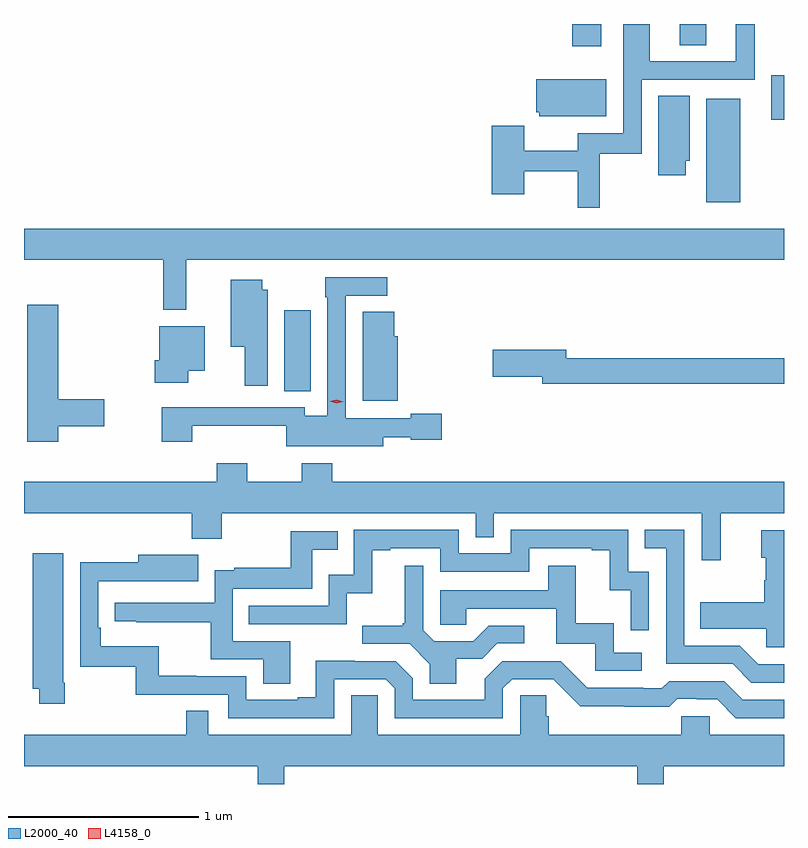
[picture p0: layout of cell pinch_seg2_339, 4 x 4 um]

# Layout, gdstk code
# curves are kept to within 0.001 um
import gdstk
lib = gdstk.Library(unit=1e-6, precision=1e-09)
def R(c, l, rs):  # rectangles x0, y0, x1, y1
    for r in rs: c.add(gdstk.rectangle(r[:2], r[2:], *l))
def P(c, l, *ps):  # polygons
    for p in ps: c.add(gdstk.Polygon(p, *l))
L2000_40 = (2000, 40)
L4158_0 = (4158, 0)

pinch_seg2_339 = lib.new_cell('pinch_seg2_339')
R(pinch_seg2_339, L2000_40, [(983.42,641.617,983.557,642.043), (985.64,642.611,985.819,643.156), (985.982,643.046,986.049,643.279), (984.935,643.434,985.087,643.55), (985.499,643.438,985.639,643.55)])
P(pinch_seg2_339, L2000_40, [(985.078,642.867),(985.299,642.867),(985.299,643.257),(985.894,643.257),(985.894,643.55),(985.796,643.55),(985.796,643.353),(985.342,643.353),(985.342,643.55),(985.203,643.55),(985.203,642.975),(984.964,642.975),(984.964,642.884),(984.682,642.884),(984.682,643.015),(984.512,643.015),(984.512,642.654),(984.682,642.654),(984.682,642.774),(984.964,642.774),(984.964,642.582),(985.078,642.582)],
  [(985.114,643.258),(984.746,643.258),(984.746,643.086),(984.762,643.086),(984.762,643.064),(985.114,643.064)],
  [(985.531,642.831),(985.552,642.831),(985.552,643.172),(985.388,643.172),(985.388,642.755),(985.531,642.755)],
  [(982.902,642.308),(986.049,642.308),(986.049,642.472),(982.049,642.472),(982.049,642.308),(982.783,642.308),(982.783,642.045),(982.902,642.045)],
  [(983.941,641.374),(984.084,641.374),(984.084,641.363),(984.247,641.363),(984.247,641.5),(984.084,641.5),(984.084,641.476),(983.742,641.476),(983.742,642.12),(983.962,642.12),(983.962,642.216),(983.634,642.216),(983.634,642.113),(983.646,642.113),(983.646,641.488),(983.526,641.488),(983.526,641.532),(983.017,641.532),(983.017,641.533),(982.774,641.533),(982.774,641.352),(982.934,641.352),(982.934,641.435),(983.43,641.435),(983.43,641.327),(983.941,641.327)],
  [(983.332,642.151),(983.304,642.151),(983.304,642.205),(983.138,642.205),(983.138,641.852),(983.21,641.852),(983.21,641.646),(983.332,641.646)],
  [(982.228,641.434),(982.471,641.434),(982.471,641.576),(982.228,641.576),(982.228,642.073),(982.067,642.073),(982.067,641.352),(982.228,641.352)],
  [(984.016,641.907),(983.998,641.907),(983.998,642.035),(983.831,642.035),(983.831,641.567),(984.016,641.567)],
  [(982.914,641.726),(982.999,641.726),(982.999,641.959),(982.76,641.959),(982.76,641.781),(982.736,641.781),(982.736,641.663),(982.914,641.663)],
  [(986.049,641.792),(984.904,641.792),(984.904,641.835),(984.516,641.835),(984.516,641.693),(984.776,641.693),(984.776,641.656),(986.049,641.656)],
  [(983.672,641.239),(983.512,641.239),(983.512,641.14),(983.223,641.14),(983.223,641.239),(983.063,641.239),(983.063,641.14),(982.049,641.14),(982.049,640.976),(982.931,640.976),(982.931,640.841),(983.091,640.841),(983.091,640.976),(984.426,640.976),(984.426,640.849),(984.522,640.849),(984.522,640.976),(985.617,640.976),(985.617,640.728),(985.715,640.728),(985.715,640.976),(986.049,640.976),(986.049,641.14),(983.672,641.14)],
  [(985.338,640.668),(985.23,640.668),(985.23,640.887),(984.612,640.887),(984.612,640.764),(984.336,640.764),(984.336,640.887),(983.784,640.887),(983.784,640.651),(983.652,640.651),(983.652,640.488),(983.233,640.488),(983.233,640.392),(983.748,640.392),(983.748,640.553),(983.881,640.553),(983.881,640.779),(983.977,640.779),(983.977,640.791),(984.24,640.791),(984.24,640.668),(984.708,640.668),(984.708,640.791),(985.037,640.791),(985.037,640.779),(985.133,640.779),(985.133,640.571),(985.242,640.571),(985.242,640.359),(985.338,640.359)],
  [(986.049,640.179),(985.914,640.179),(985.815,640.278),(985.524,640.278),(985.524,640.887),(985.315,640.887),(985.315,640.791),(985.428,640.791),(985.428,640.182),(985.778,640.182),(985.877,640.083),(986.049,640.083)],
  [(986.049,640.885),(985.928,640.885),(985.928,640.74),(985.954,640.74),(985.954,640.622),(985.944,640.622),(985.944,640.507),(985.609,640.507),(985.609,640.367),(985.956,640.367),(985.956,640.269),(986.049,640.269)],
  [(983.449,640.302),(983.148,640.302),(983.148,640.578),(983.565,640.578),(983.565,640.784),(983.699,640.784),(983.699,640.881),(983.454,640.881),(983.454,640.687),(983.155,640.687),(983.155,640.675),(983.052,640.675),(983.052,640.503),(982.527,640.503),(982.527,640.407),(982.639,640.407),(982.639,640.402),(983.032,640.402),(983.032,640.206),(983.309,640.206),(983.309,640.078),(983.449,640.078)],
  [(982.263,640.084),(982.255,640.084),(982.255,640.765),(982.094,640.765),(982.094,640.052),(982.13,640.052),(982.13,639.972),(982.263,639.972)],
  [(983.682,640.101),(983.952,640.101),(984,640.053),(984,639.897),(984.57,639.897),(984.57,640.053),(984.618,640.101),(984.834,640.101),(984.976,639.959),(985.212,639.959),(985.212,639.957),(985.445,639.957),(985.487,639.999),(985.59,639.999),(985.59,639.996),(985.697,639.996),(985.796,639.897),(986.049,639.897),(986.049,639.993),(985.833,639.993),(985.734,640.092),(985.445,640.092),(985.406,640.053),(985.307,640.053),(985.307,640.056),(985.014,640.056),(984.873,640.197),(984.567,640.197),(984.473,640.103),(984.473,639.993),(984.096,639.993),(984.096,640.107),(984.006,640.197),(983.79,640.197),(983.79,640.199),(983.585,640.199),(983.585,640.006),(983.489,640.006),(983.489,639.993),(983.22,639.993),(983.22,640.116),(982.955,640.116),(982.955,640.121),(982.759,640.121),(982.759,640.276),(982.454,640.276),(982.454,640.372),(982.44,640.372),(982.44,640.617),(982.967,640.616),(982.967,640.756),(982.649,640.756),(982.649,640.718),(982.344,640.718),(982.344,640.167),(982.638,640.167),(982.638,640.02),(983.124,640.02),(983.124,639.897),(983.682,639.897)],
  [(984.325,640.21),(984.46,640.21),(984.54,640.29),(984.682,640.29),(984.682,640.383),(984.494,640.383),(984.413,640.302),(984.207,640.302),(984.15,640.359),(984.15,640.699),(984.053,640.699),(984.053,640.396),(984.042,640.396),(984.042,640.384),(983.829,640.384),(983.829,640.287),(984.078,640.287),(984.185,640.18),(984.185,640.078),(984.325,640.078)],
  [(985.3,640.242),(985.152,640.242),(985.152,640.396),(984.953,640.396),(984.953,640.699),(984.809,640.699),(984.809,640.569),(984.24,640.569),(984.24,640.389),(984.377,640.389),(984.377,640.473),(984.851,640.473),(984.851,640.287),(985.056,640.287),(985.056,640.146),(985.3,640.146)],
  [(983.419,639.644),(985.277,639.644),(985.277,639.55),(985.417,639.55),(985.417,639.644),(986.049,639.644),(986.049,639.808),(985.659,639.808),(985.659,639.906),(985.509,639.906),(985.509,639.808),(984.812,639.808),(984.812,639.906),(984.797,639.906),(984.797,640.016),(984.66,640.016),(984.66,639.808),(983.91,639.808),(983.91,640.016),(983.771,640.016),(983.771,639.808),(983.019,639.808),(983.019,639.935),(982.903,639.935),(982.903,639.808),(982.049,639.808),(982.049,639.644),(983.279,639.644),(983.279,639.55),(983.419,639.55)])
P(pinch_seg2_339, L4158_0, [(983.693,641.553),(983.659,641.564),(983.659,641.564),(983.659,641.565),(983.694,641.573),(983.728,641.562),(983.728,641.562),(983.728,641.562)])

lib.write_gds('pinch_seg2_339.gds')
